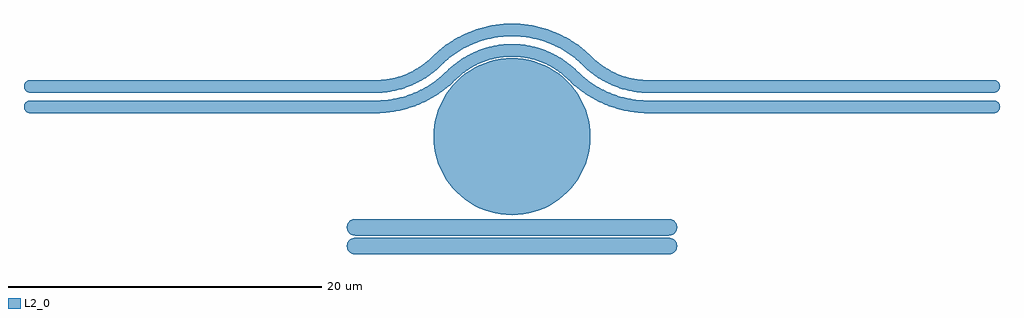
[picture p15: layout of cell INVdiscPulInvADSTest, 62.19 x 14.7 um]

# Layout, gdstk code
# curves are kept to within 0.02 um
import gdstk
lib = gdstk.Library(unit=1e-6, precision=1e-09)
def P(c, l, *ps):  # polygons
    for p in ps: c.add(gdstk.Polygon(p, *l))
L2_0 = (2, 0)

invdiscpulinvadstest = lib.new_cell('INVdiscPulInvADSTest')
P(invdiscpulinvadstest, L2_0, [(5,5),(4.288,5.051),(3.937,5.114),(3.253,5.315),(2.923,5.452),(2.297,5.794),(2.004,5.997),(1.464,6.464),(0.997,7.004),(0.794,7.297),(0.452,7.923),(0.315,8.253),(0.114,8.937),(0.051,9.288),(0,10),(0.051,10.712),(0.114,11.063),(0.315,11.747),(0.452,12.077),(0.794,12.703),(0.997,12.996),(1.464,13.536),(2.004,14.003),(2.297,14.206),(2.923,14.548),(3.253,14.685),(3.937,14.886),(4.288,14.949),(5,15),(5.712,14.949),(6.063,14.886),(6.747,14.685),(7.077,14.548),(7.703,14.206),(7.996,14.003),(8.536,13.536),(9.003,12.996),(9.206,12.703),(9.548,12.077),(9.685,11.747),(9.886,11.063),(9.949,10.712),(10,10),(9.949,9.288),(9.886,8.937),(9.685,8.253),(9.548,7.923),(9.206,7.297),(9.003,7.004),(8.536,6.464),(7.996,5.997),(7.703,5.794),(7.077,5.452),(6.747,5.315),(6.063,5.114),(5.712,5.051)],
  [(-25.697,11.497),(-25.697,12.297),(-3.697,12.297),(-2.787,12.363),(-2.226,12.469),(-1.676,12.625),(-1.143,12.829),(-0.53,13.136),(0.229,13.643),(1.136,14.459),(1.549,14.786),(2.08,15.127),(2.549,15.367),(3.037,15.564),(3.643,15.742),(4.265,15.854),(4.895,15.899),(5.526,15.877),(6.151,15.787),(6.763,15.63),(7.355,15.41),(7.92,15.127),(8.451,14.786),(8.864,14.459),(9.771,13.643),(10.237,13.313),(10.63,13.08),(11.143,12.829),(11.676,12.625),(12.226,12.469),(12.9,12.347),(13.697,12.297),(35.697,12.297),(35.697,11.497),(13.697,11.497),(13.056,11.526),(12.419,11.612),(11.669,11.789),(10.942,12.045),(10.36,12.318),(9.805,12.64),(9.28,13.011),(8.34,13.854),(7.983,14.137),(7.524,14.432),(7.035,14.676),(6.524,14.867),(5.995,15.002),(5.455,15.08),(4.909,15.099),(4.364,15.06),(3.827,14.963),(3.389,14.839),(2.881,14.639),(2.476,14.432),(2.017,14.137),(1.66,13.854),(0.72,13.011),(0.195,12.64),(-0.247,12.378),(-0.942,12.045),(-1.546,11.826),(-2.167,11.662),(-2.8,11.554),(-3.697,11.497)],
  [(-25.697,12.797),(-25.697,13.597),(-3.697,13.597),(-2.972,13.649),(-2.525,13.734),(-2.001,13.888),(-1.579,14.058),(-1.095,14.311),(-0.497,14.726),(0.285,15.441),(0.789,15.84),(1.437,16.257),(2.126,16.602),(2.726,16.832),(3.47,17.035),(4.23,17.159),(4.871,17.199),(5.642,17.171),(6.405,17.062),(7.151,16.871),(7.874,16.602),(8.563,16.257),(9.211,15.84),(9.715,15.441),(10.497,14.726),(11.095,14.311),(11.579,14.058),(12.087,13.858),(12.613,13.714),(13.062,13.637),(13.697,13.597),(35.697,13.597),(35.697,12.797),(13.697,12.797),(13.172,12.821),(12.65,12.891),(12.035,13.036),(11.44,13.247),(10.87,13.519),(10.078,14.038),(9.191,14.837),(8.65,15.257),(8.167,15.562),(7.554,15.868),(6.912,16.108),(6.249,16.277),(5.57,16.375),(4.886,16.399),(4.202,16.35),(3.64,16.254),(2.979,16.072),(2.341,15.822),(1.833,15.562),(1.257,15.191),(0.809,14.837),(0.005,14.103),(-0.778,13.57),(-1.246,13.331),(-1.834,13.099),(-2.443,12.932),(-2.962,12.843),(-3.697,12.797)],
  [(35.697,11.497),(35.697,12.297),(35.853,12.266),(35.98,12.18),(36.066,12.053),(36.097,11.897),(36.066,11.742),(35.98,11.615),(35.853,11.529)],
  [(-25.697,11.497),(-25.853,11.529),(-25.98,11.615),(-26.066,11.742),(-26.097,11.897),(-26.066,12.053),(-25.98,12.18),(-25.853,12.266),(-25.697,12.297)],
  [(35.697,12.797),(35.697,13.597),(35.853,13.566),(35.98,13.48),(36.066,13.353),(36.097,13.197),(36.066,13.042),(35.98,12.915),(35.853,12.829)],
  [(-25.697,12.797),(-25.853,12.829),(-25.98,12.915),(-26.066,13.042),(-26.097,13.197),(-26.066,13.353),(-25.98,13.48),(-25.853,13.566),(-25.697,13.597)],
  [(-5,2.5),(-5.204,2.541),(-5.371,2.654),(-5.484,2.821),(-5.525,3.025),(-5.484,3.229),(-5.371,3.396),(-5.204,3.509),(-5,3.55),(15,3.55),(15.204,3.509),(15.371,3.396),(15.484,3.229),(15.525,3.025),(15.484,2.821),(15.371,2.654),(15.204,2.541),(15,2.5)],
  [(-5,3.7),(-5.204,3.741),(-5.371,3.854),(-5.484,4.021),(-5.525,4.225),(-5.484,4.429),(-5.371,4.596),(-5.204,4.709),(-5,4.75),(15,4.75),(15.204,4.709),(15.371,4.596),(15.484,4.429),(15.525,4.225),(15.484,4.021),(15.371,3.854),(15.204,3.741),(15,3.7)])

lib.write_gds('INVdiscPulInvADSTest.gds')
